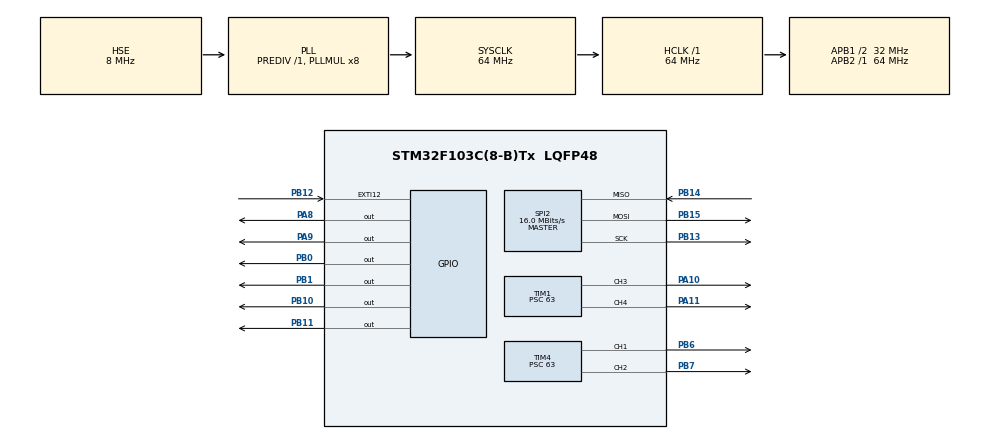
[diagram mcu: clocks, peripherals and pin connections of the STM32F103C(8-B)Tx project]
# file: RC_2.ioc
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Dma.Request0=SPI2_RX
Dma.Request1=SPI2_TX
Dma.SPI2_RX.0.Direction=DMA_PERIPH_TO_MEMORY
Dma.SPI2_RX.0.Instance=DMA1_Channel4
Dma.SPI2_RX.0.MemDataAlignment=DMA_MDATAALIGN_BYTE
Dma.SPI2_RX.0.MemInc=DMA_MINC_ENABLE
Dma.SPI2_RX.0.Mode=DMA_NORMAL
Dma.SPI2_RX.0.PeriphDataAlignment=DMA_PDATAALIGN_BYTE
Dma.SPI2_RX.0.PeriphInc=DMA_PINC_DISABLE
Dma.SPI2_RX.0.Priority=DMA_PRIORITY_LOW
Dma.SPI2_TX.1.Direction=DMA_MEMORY_TO_PERIPH
Dma.SPI2_TX.1.Instance=DMA1_Channel5
Dma.SPI2_TX.1.MemDataAlignment=DMA_MDATAALIGN_BYTE
Dma.SPI2_TX.1.MemInc=DMA_MINC_ENABLE
Dma.SPI2_TX.1.Mode=DMA_CIRCULAR
Dma.SPI2_TX.1.PeriphDataAlignment=DMA_PDATAALIGN_BYTE
Dma.SPI2_TX.1.PeriphInc=DMA_PINC_DISABLE
Dma.SPI2_TX.1.Priority=DMA_PRIORITY_LOW
Mcu.Family=STM32F1
Mcu.Name=STM32F103C(8-B)Tx
Mcu.Package=LQFP48
NVIC.DMA1_Channel4_IRQn=true\:0\:0\:true\:false\:true\:false\:true\:true
NVIC.DMA1_Channel5_IRQn=true\:0\:0\:true\:false\:true\:false\:true\:true
NVIC.EXTI15_10_IRQn=true\:0\:0\:false\:false\:true\:true\:true\:true
NVIC.PriorityGroup=NVIC_PRIORITYGROUP_4
NVIC.SPI2_IRQn=true\:0\:0\:true\:false\:true\:true\:true\:true
PA10.Signal=S_TIM1_CH3
PA11.Signal=S_TIM1_CH4
PA13.Mode=Serial_Wire
PA13.Signal=SYS_JTMS-SWDIO
PA14.Mode=Serial_Wire
PA14.Signal=SYS_JTCK-SWCLK
PA8.Signal=GPIO_Output
PA9.Signal=GPIO_Output
PB0.Signal=GPIO_Output
PB1.Signal=GPIO_Output
PB10.Signal=GPIO_Output
PB11.Signal=GPIO_Output
PB12.Signal=GPXTI12
PB13.Mode=Full_Duplex_Master
PB13.Signal=SPI2_SCK
PB14.Mode=Full_Duplex_Master
PB14.Signal=SPI2_MISO
PB15.Mode=Full_Duplex_Master
PB15.Signal=SPI2_MOSI
PB6.Signal=S_TIM4_CH1
PB7.Signal=S_TIM4_CH2
PD0-OSC_IN.Mode=HSE-External-Oscillator
PD0-OSC_IN.Signal=RCC_OSC_IN
PD1-OSC_OUT.Mode=HSE-External-Oscillator
PD1-OSC_OUT.Signal=RCC_OSC_OUT
ProjectManager.HeapSize=0x200
ProjectManager.StackSize=0x400
ProjectManager.TargetToolchain=MDK-ARM V5.32
RCC.AHBFreq_Value=64000000
RCC.APB1CLKDivider=RCC_HCLK_DIV2
RCC.APB1Freq_Value=32000000
RCC.APB1TimFreq_Value=64000000
RCC.APB2Freq_Value=64000000
RCC.APB2TimFreq_Value=64000000
RCC.HCLKFreq_Value=64000000
RCC.PLLMUL=RCC_PLL_MUL8
RCC.PLLSourceVirtual=RCC_PLLSOURCE_HSE
RCC.SYSCLKFreq_VALUE=64000000
RCC.SYSCLKSource=RCC_SYSCLKSOURCE_PLLCLK
RCC.USBFreq_Value=64000000
SH.S_TIM1_CH3.0=TIM1_CH3,PWM Generation3 CH3
SH.S_TIM1_CH4.0=TIM1_CH4,PWM Generation4 CH4
SH.S_TIM4_CH1.0=TIM4_CH1,PWM Generation1 CH1
SH.S_TIM4_CH2.0=TIM4_CH2,PWM Generation2 CH2
SPI2.BaudRatePrescaler=SPI_BAUDRATEPRESCALER_2
SPI2.CalculateBaudRate=16.0 MBits/s
SPI2.Direction=SPI_DIRECTION_2LINES
SPI2.Mode=SPI_MODE_MASTER
SPI2.VirtualType=VM_MASTER
TIM1.AutoReloadPreload=TIM_AUTORELOAD_PRELOAD_ENABLE
TIM1.Channel-PWM\ Generation3\ CH3=TIM_CHANNEL_3
TIM1.Channel-PWM\ Generation4\ CH4=TIM_CHANNEL_4
TIM1.Prescaler=63
TIM4.AutoReloadPreload=TIM_AUTORELOAD_PRELOAD_ENABLE
TIM4.Channel-PWM\ Generation1\ CH1=TIM_CHANNEL_1
TIM4.Channel-PWM\ Generation2\ CH2=TIM_CHANNEL_2
TIM4.Period=19999
TIM4.Prescaler=63
VP_TIM1_VS_ClockSourceINT.Mode=Internal
board=custom

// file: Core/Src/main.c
/* USER CODE BEGIN Header */
/**
  ******************************************************************************
  * @file           : main.c
  * @brief          : Main program body
  ******************************************************************************
  * @attention
  *
  * Copyright (c) 2025 STMicroelectronics.
  * All rights reserved.
  *
  * This software is licensed under terms that can be found in the LICENSE file
  * in the root directory of this software component.
  * If no LICENSE file comes with this software, it is provided AS-IS.
  *
  ******************************************************************************
  */
/* USER CODE END Header */
#include "main.h"

/* USER CODE BEGIN Includes */
#include "car.h"
#include "servo.h"
#include "rc_receiver.h"
#include "nrf24_spi_dma.h"
#include "nrf24_dma_driver.h"
/* USER CODE END Includes */

SPI_HandleTypeDef hspi2;
DMA_HandleTypeDef hdma_spi2_rx;
DMA_HandleTypeDef hdma_spi2_tx;

TIM_HandleTypeDef htim1;
TIM_HandleTypeDef htim4;

/* USER CODE BEGIN PV */
//Servo_t sv_grip, sv_wrist;
volatile uint8_t nrf_irq_flag = 0; // Cờ báo ngắt từ nRF24 (PB12)
Servo_t sv_lift;
Servo_t sv_grip;
/* USER CODE END PV */

void SystemClock_Config(void);
static void MX_GPIO_Init(void);
static void MX_DMA_Init(void);
static void MX_SPI2_Init(void);
static void MX_TIM1_Init(void);
static void MX_TIM4_Init(void);

/* USER CODE BEGIN 0 */
//void HAL_SPI_TxRxCpltCallback(SPI_HandleTypeDef *hspi)
//{
//    if(hspi == &hspi2)
//        nrf24_spi_dma_complete_cb();
//}

//void HAL_SPI_ErrorCallback(SPI_HandleTypeDef *hspi)
//{
//    if(hspi == &hspi2)
//     //   nrf24_spi_dma_complete_cb();
//		Error_Handler();
//}
void HAL_GPIO_EXTI_Callback(uint16_t GPIO_Pin)
{
    /* Kiểm tra xem có đúng là ngắt từ chân PB12 không */
    if (GPIO_Pin == GPIO_PIN_12)
    {
        /* Set cờ để RC_Receiver_Task() xử lý */
        nrf_irq_flag = 1;
    }
}
/* USER CODE BEGIN 4 */
/* USER CODE END 4 */
/* USER CODE END 0 */

int main(void)
{

  /* MCU Configuration--------------------------------------------------------*/

  /* Reset of all peripherals, Initializes the Flash interface and the Systick. */
  HAL_Init();

  /* Configure the system clock */
  SystemClock_Config();

  /* Initialize all configured peripherals */
  MX_GPIO_Init();
  MX_DMA_Init();
  MX_SPI2_Init();
  MX_TIM1_Init();
  MX_TIM4_Init();
  /* USER CODE BEGIN 2 */
 // 1) Kh?i t?o h? th?ng di?u khi?n xe (motor PWM b?ng TIM1)
  car_init(&htim1);

  // 2) Kh?i t?o driver SPI DMA cho nRF24 (g?n hspi2 cho thu vi?n)
  NRF24_SPI_DMA_Init(&hspi2);

  // 3) Kh?i t?o driver nRF24: CE/CSN, DWT delay, SPI abstraction...
  nrf24_driver_init();
	Servo_Init(&sv_lift, &htim4, TIM_CHANNEL_1, 500, 1500, 2500, 20000);
  Servo_Init(&sv_grip, &htim4, TIM_CHANNEL_2, 500, 1500, 2500, 20000);
  // 4) Kh?i t?o ph?n nh?n RC (config nRF24 ? RX mode + g�n servo n?u d�ng)
  RC_Receiver_Init(&sv_lift, &sv_grip);   // t?m kh�ng d�ng servo, sau n�y truy?n con tr? Servo_t v�o

  /* USER CODE END 2 */

  /* Infinite loop */
  while (1)
  {

    /* USER CODE BEGIN 3 */
		  RC_Receiver_Task();   // nh?n g�i + �p d?ng di?u khi?n
        //HAL_Delay(10);

	}
  /* USER CODE END 3 */
}

void SystemClock_Config(void)
{
  RCC_OscInitTypeDef RCC_OscInitStruct = {0};
  RCC_ClkInitTypeDef RCC_ClkInitStruct = {0};

  /** Initializes the RCC Oscillators according to the specified parameters
  * in the RCC_OscInitTypeDef structure.
  */
  RCC_OscInitStruct.OscillatorType = RCC_OSCILLATORTYPE_HSE;
  RCC_OscInitStruct.HSEState = RCC_HSE_ON;
  RCC_OscInitStruct.HSEPredivValue = RCC_HSE_PREDIV_DIV1;
  RCC_OscInitStruct.HSIState = RCC_HSI_ON;
  RCC_OscInitStruct.PLL.PLLState = RCC_PLL_ON;
  RCC_OscInitStruct.PLL.PLLSource = RCC_PLLSOURCE_HSE;
  RCC_OscInitStruct.PLL.PLLMUL = RCC_PLL_MUL8;
  if (HAL_RCC_OscConfig(&RCC_OscInitStruct) != HAL_OK)
  {
    Error_Handler();
  }

  /** Initializes the CPU, AHB and APB buses clocks
  */
  RCC_ClkInitStruct.ClockType = RCC_CLOCKTYPE_HCLK|RCC_CLOCKTYPE_SYSCLK
                              |RCC_CLOCKTYPE_PCLK1|RCC_CLOCKTYPE_PCLK2;
  RCC_ClkInitStruct.SYSCLKSource = RCC_SYSCLKSOURCE_PLLCLK;
  RCC_ClkInitStruct.AHBCLKDivider = RCC_SYSCLK_DIV1;
  RCC_ClkInitStruct.APB1CLKDivider = RCC_HCLK_DIV2;
  RCC_ClkInitStruct.APB2CLKDivider = RCC_HCLK_DIV1;

  if (HAL_RCC_ClockConfig(&RCC_ClkInitStruct, FLASH_LATENCY_2) != HAL_OK)
  {
    Error_Handler();
  }
}

static void MX_SPI2_Init(void)
{

  /* SPI2 parameter configuration*/
  hspi2.Instance = SPI2;
  hspi2.Init.Mode = SPI_MODE_MASTER;
  hspi2.Init.Direction = SPI_DIRECTION_2LINES;
  hspi2.Init.DataSize = SPI_DATASIZE_8BIT;
  hspi2.Init.CLKPolarity = SPI_POLARITY_LOW;
  hspi2.Init.CLKPhase = SPI_PHASE_1EDGE;
  hspi2.Init.NSS = SPI_NSS_SOFT;
  hspi2.Init.BaudRatePrescaler = SPI_BAUDRATEPRESCALER_2;
  hspi2.Init.FirstBit = SPI_FIRSTBIT_MSB;
  hspi2.Init.TIMode = SPI_TIMODE_DISABLE;
  hspi2.Init.CRCCalculation = SPI_CRCCALCULATION_DISABLE;
  hspi2.Init.CRCPolynomial = 10;
  if (HAL_SPI_Init(&hspi2) != HAL_OK)
  {
    Error_Handler();
  }
  /* USER CODE BEGIN SPI2_Init 2 */
HAL_NVIC_SetPriority(SPI2_IRQn, 0, 0); // <-- ĐẶT ƯU TIÊN LÀ '0' (GIỐNG DMA)
  HAL_NVIC_EnableIRQ(SPI2_IRQn);          // <-- BẬT NGẮT LÊN
  /* USER CODE END SPI2_Init 2 */

}

static void MX_TIM1_Init(void)
{

  TIM_ClockConfigTypeDef sClockSourceConfig = {0};
  TIM_MasterConfigTypeDef sMasterConfig = {0};
  TIM_OC_InitTypeDef sConfigOC = {0};
  TIM_BreakDeadTimeConfigTypeDef sBreakDeadTimeConfig = {0};

  htim1.Instance = TIM1;
  htim1.Init.Prescaler = 63;
  htim1.Init.CounterMode = TIM_COUNTERMODE_UP;
  htim1.Init.Period = 999;
  htim1.Init.ClockDivision = TIM_CLOCKDIVISION_DIV1;
  htim1.Init.RepetitionCounter = 0;
  htim1.Init.AutoReloadPreload = TIM_AUTORELOAD_PRELOAD_ENABLE;
  if (HAL_TIM_Base_Init(&htim1) != HAL_OK)
  {
    Error_Handler();
  }
  sClockSourceConfig.ClockSource = TIM_CLOCKSOURCE_INTERNAL;
  if (HAL_TIM_ConfigClockSource(&htim1, &sClockSourceConfig) != HAL_OK)
  {
    Error_Handler();
  }
  if (HAL_TIM_PWM_Init(&htim1) != HAL_OK)
  {
    Error_Handler();
  }
  sMasterConfig.MasterOutputTrigger = TIM_TRGO_RESET;
  sMasterConfig.MasterSlaveMode = TIM_MASTERSLAVEMODE_DISABLE;
  if (HAL_TIMEx_MasterConfigSynchronization(&htim1, &sMasterConfig) != HAL_OK)
  {
    Error_Handler();
  }
  sConfigOC.OCMode = TIM_OCMODE_PWM1;
  sConfigOC.Pulse = 0;
  sConfigOC.OCPolarity = TIM_OCPOLARITY_HIGH;
  sConfigOC.OCNPolarity = TIM_OCNPOLARITY_HIGH;
  sConfigOC.OCFastMode = TIM_OCFAST_DISABLE;
  sConfigOC.OCIdleState = TIM_OCIDLESTATE_RESET;
  sConfigOC.OCNIdleState = TIM_OCNIDLESTATE_RESET;
  if (HAL_TIM_PWM_ConfigChannel(&htim1, &sConfigOC, TIM_CHANNEL_3) != HAL_OK)
  {
    Error_Handler();
  }
  if (HAL_TIM_PWM_ConfigChannel(&htim1, &sConfigOC, TIM_CHANNEL_4) != HAL_OK)
  {
    Error_Handler();
  }
  sBreakDeadTimeConfig.OffStateRunMode = TIM_OSSR_DISABLE;
  sBreakDeadTimeConfig.OffStateIDLEMode = TIM_OSSI_DISABLE;
  sBreakDeadTimeConfig.LockLevel = TIM_LOCKLEVEL_OFF;
  sBreakDeadTimeConfig.DeadTime = 0;
  sBreakDeadTimeConfig.BreakState = TIM_BREAK_DISABLE;
  sBreakDeadTimeConfig.BreakPolarity = TIM_BREAKPOLARITY_HIGH;
  sBreakDeadTimeConfig.AutomaticOutput = TIM_AUTOMATICOUTPUT_DISABLE;
  if (HAL_TIMEx_ConfigBreakDeadTime(&htim1, &sBreakDeadTimeConfig) != HAL_OK)
  {
    Error_Handler();
  }
  HAL_TIM_MspPostInit(&htim1);

}

static void MX_TIM4_Init(void)
{

  TIM_MasterConfigTypeDef sMasterConfig = {0};
  TIM_OC_InitTypeDef sConfigOC = {0};

  htim4.Instance = TIM4;
  htim4.Init.Prescaler = 63;
  htim4.Init.CounterMode = TIM_COUNTERMODE_UP;
  htim4.Init.Period = 19999;
  htim4.Init.ClockDivision = TIM_CLOCKDIVISION_DIV1;
  htim4.Init.AutoReloadPreload = TIM_AUTORELOAD_PRELOAD_ENABLE;
  if (HAL_TIM_PWM_Init(&htim4) != HAL_OK)
  {
    Error_Handler();
  }
  sMasterConfig.MasterOutputTrigger = TIM_TRGO_RESET;
  sMasterConfig.MasterSlaveMode = TIM_MASTERSLAVEMODE_DISABLE;
  if (HAL_TIMEx_MasterConfigSynchronization(&htim4, &sMasterConfig) != HAL_OK)
  {
    Error_Handler();
  }
  sConfigOC.OCMode = TIM_OCMODE_PWM1;
  sConfigOC.Pulse = 0;
  sConfigOC.OCPolarity = TIM_OCPOLARITY_HIGH;
  sConfigOC.OCFastMode = TIM_OCFAST_DISABLE;
  if (HAL_TIM_PWM_ConfigChannel(&htim4, &sConfigOC, TIM_CHANNEL_1) != HAL_OK)
  {
    Error_Handler();
  }
  if (HAL_TIM_PWM_ConfigChannel(&htim4, &sConfigOC, TIM_CHANNEL_2) != HAL_OK)
  {
    Error_Handler();
  }
  HAL_TIM_MspPostInit(&htim4);

}

static void MX_DMA_Init(void)
{

  /* DMA controller clock enable */
  __HAL_RCC_DMA1_CLK_ENABLE();

  /* DMA interrupt init */
  /* DMA1_Channel4_IRQn interrupt configuration */
  HAL_NVIC_SetPriority(DMA1_Channel4_IRQn, 0, 0);
  HAL_NVIC_EnableIRQ(DMA1_Channel4_IRQn);
  /* DMA1_Channel5_IRQn interrupt configuration */
  HAL_NVIC_SetPriority(DMA1_Channel5_IRQn, 0, 0);
  HAL_NVIC_EnableIRQ(DMA1_Channel5_IRQn);

}

static void MX_GPIO_Init(void)
{
  GPIO_InitTypeDef GPIO_InitStruct = {0};

  /* GPIO Ports Clock Enable */
  __HAL_RCC_GPIOD_CLK_ENABLE();
  __HAL_RCC_GPIOB_CLK_ENABLE();
  __HAL_RCC_GPIOA_CLK_ENABLE();

  /*Configure GPIO pin Output Level */
  HAL_GPIO_WritePin(GPIOB, GPIO_PIN_0|GPIO_PIN_1|GPIO_PIN_10|GPIO_PIN_11, GPIO_PIN_RESET);

  /*Configure GPIO pin Output Level */
  HAL_GPIO_WritePin(GPIOA, GPIO_PIN_8|GPIO_PIN_9, GPIO_PIN_RESET);

  /*Configure GPIO pins : PB0 PB1 PB10 PB11 */
  GPIO_InitStruct.Pin = GPIO_PIN_0|GPIO_PIN_1|GPIO_PIN_10|GPIO_PIN_11;
  GPIO_InitStruct.Mode = GPIO_MODE_OUTPUT_PP;
  GPIO_InitStruct.Pull = GPIO_NOPULL;
  GPIO_InitStruct.Speed = GPIO_SPEED_FREQ_LOW;
  HAL_GPIO_Init(GPIOB, &GPIO_InitStruct);

  /*Configure GPIO pin : PB12 */
  GPIO_InitStruct.Pin = GPIO_PIN_12;
  GPIO_InitStruct.Mode = GPIO_MODE_IT_FALLING;
  GPIO_InitStruct.Pull = GPIO_PULLUP;
  HAL_GPIO_Init(GPIOB, &GPIO_InitStruct);

  /*Configure GPIO pins : PA8 PA9 */
  GPIO_InitStruct.Pin = GPIO_PIN_8|GPIO_PIN_9;
  GPIO_InitStruct.Mode = GPIO_MODE_OUTPUT_PP;
  GPIO_InitStruct.Pull = GPIO_NOPULL;
  GPIO_InitStruct.Speed = GPIO_SPEED_FREQ_LOW;
  HAL_GPIO_Init(GPIOA, &GPIO_InitStruct);

  /* EXTI interrupt init*/
  HAL_NVIC_SetPriority(EXTI15_10_IRQn, 0, 0);
  HAL_NVIC_EnableIRQ(EXTI15_10_IRQn);

}

void Error_Handler(void)
{
  __disable_irq();
  while (1)
  {
  }
}
